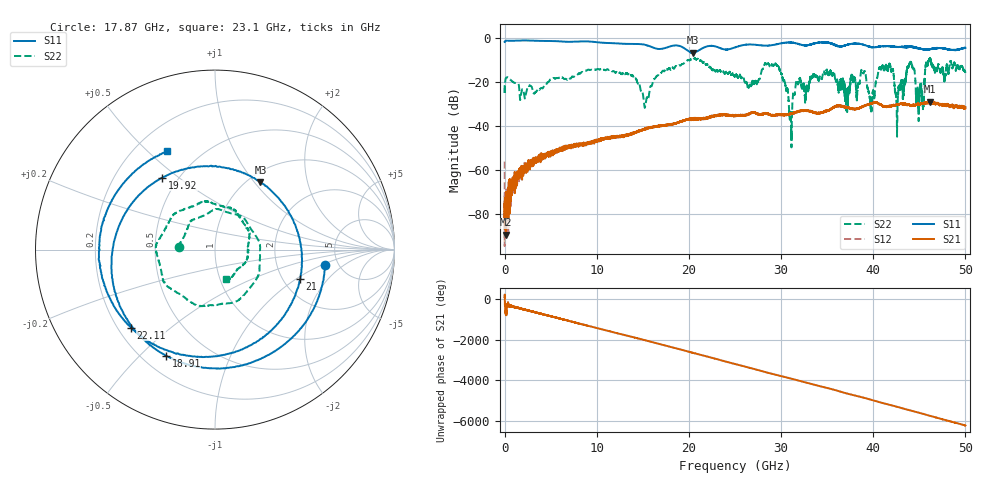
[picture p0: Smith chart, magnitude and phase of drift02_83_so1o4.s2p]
!Created with skrf (http://scikit-rf.org).
# Hz S RI R 50.0
!freq ReS11 ImS11 ReS21 ImS21 ReS12 ImS12 ReS22 ImS22
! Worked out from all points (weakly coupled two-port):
!   10001 points, 300 kHz to 50 GHz, reference 50 ohm
!   highest |S21| = -29.01 dB at 46.17 GHz (marker M1); lowest = -89.2 dB at 125.3 MHz (marker M2)
!   lowest |S11| = -6.9 dB at 20.43 GHz (marker M3), VSWR 2.65, Z = 57 + j53.6 ohm
!   |S11| at or under -10 dB: nowhere
!   |S22| runs from -49.7 to -9.0 dB; largest |S21 - S12| = 0.0032
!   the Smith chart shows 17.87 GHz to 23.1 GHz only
!   S11 on the Smith chart (normalised r, x): 17.87 GHz: 3.91, -1.12; 18.91 GHz: 0.29, -0.60; 19.92 GHz: 0.41, +0.44; 21 GHz: 2.46, -1.09; 22.11 GHz: 0.25, -0.37; 23.1 GHz: 0.33, +0.58
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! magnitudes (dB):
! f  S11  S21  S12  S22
! 300 kHz  -2.0  -74.2  -56.1  -21.7
! 125.3 MHz  -1.5  -89.2  -78.4  -18.4
! 8.335 GHz  -1.7  -48.4  -48.5  -15.7
! 15.33 GHz  -3.4  -41.1  -41.2  -29.3
! 16.67 GHz  -5.2  -39.9  -40.1  -17.0
! 17.87 GHz  -4.2  -39.4  -39.4  -13.8
! 18.91 GHz  -3.7  -38.3  -38.3  -12.5
! 19.92 GHz  -6.1  -37.0  -37.1  -10.1
! 20.43 GHz  -6.9  -36.9  -37.0  -10.0
! 21 GHz  -6.0  -36.6  -36.8  -9.7
! 22.11 GHz  -3.9  -36.1  -36.2  -12.9
! 23.1 GHz  -4.3  -35.4  -35.2  -15.2
! 25 GHz  -4.5  -35.3  -35.3  -17.5
! 29.51 GHz  -3.1  -35.1  -35.0  -12.5
! 31.04 GHz  -2.3  -34.7  -34.7  -34.3
! 33.34 GHz  -3.0  -33.3  -33.6  -17.8
! 39.88 GHz  -4.4  -29.6  -29.8  -28.2
! 41.67 GHz  -3.9  -30.9  -31.1  -13.2
! 44.19 GHz  -4.3  -30.7  -30.6  -12.1
! 44.85 GHz  -4.9  -30.1  -30.0  -25.9
! 46.17 GHz  -5.3  -29.0  -29.3  -9.3
! 50 GHz  -4.7  -31.5  -31.7  -15.8
